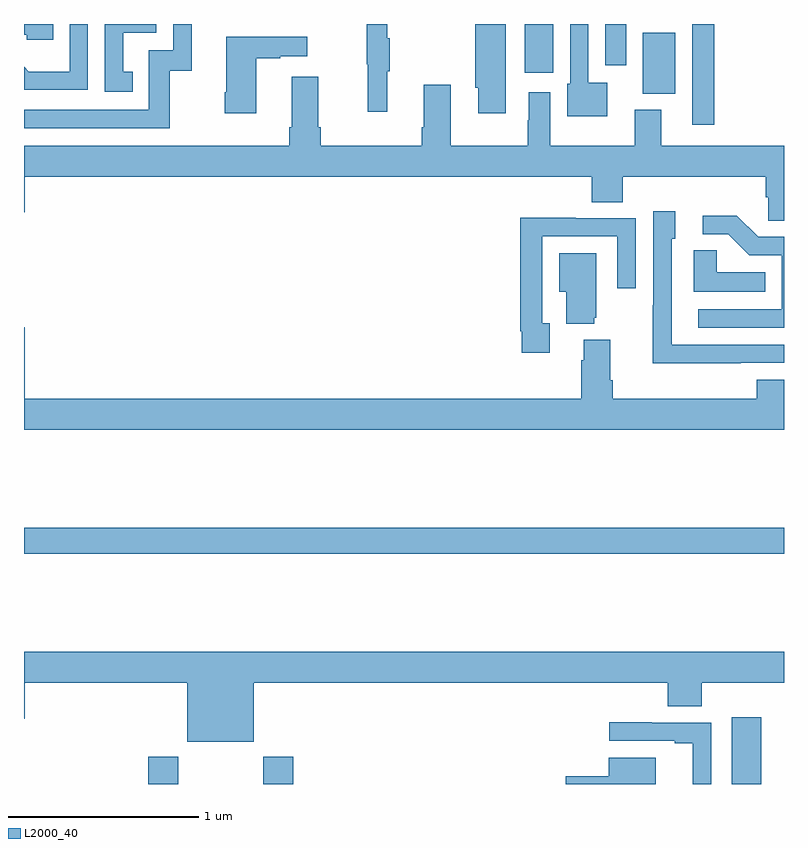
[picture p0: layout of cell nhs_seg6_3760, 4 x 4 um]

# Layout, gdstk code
import gdstk
lib = gdstk.Library(unit=1e-6, precision=1e-09)
def R(c, l, rs):  # rectangles x0, y0, x1, y1
    for r in rs: c.add(gdstk.rectangle(r[:2], r[2:], *l))
def P(c, l, *ps):  # polygons
    for p in ps: c.add(gdstk.Polygon(p, *l))
L2000_40 = (2000, 40)

nhs_seg6_3760 = lib.new_cell('nhs_seg6_3760')
R(nhs_seg6_3760, L2000_40, [(333.653,917.5,333.813,917.644), (334.258,917.5,334.418,917.644), (336.725,917.5,336.881,917.851), (333,918.712,337,918.848), (336.516,920.97,336.632,921.5), (336.257,921.134,336.427,921.454), (335.636,921.243,335.785,921.5), (336.059,921.282,336.169,921.5)])
P(nhs_seg6_3760, L2000_40, [(333.155,921.5),(333,921.5),(333,921.444),(333.015,921.444),(333.015,921.417),(333.155,921.417)],
  [(334.913,921.251),(334.924,921.251),(334.924,921.425),(334.913,921.425),(334.913,921.5),(334.803,921.5),(334.803,921.288),(334.81,921.288),(334.81,921.039),(334.913,921.039)],
  [(333.336,921.5),(333.24,921.5),(333.24,921.25),(333.026,921.25),(333,921.276),(333,921.153),(333.336,921.153)],
  [(333.766,921.255),(333.884,921.255),(333.884,921.5),(333.786,921.5),(333.786,921.363),(333.657,921.363),(333.657,921.048),(333,921.048),(333,920.952),(333.766,920.952)],
  [(336.07,921.19),(335.97,921.19),(335.97,921.5),(335.874,921.5),(335.874,921.186),(335.858,921.186),(335.858,921.014),(336.07,921.014)],
  [(335.536,921.5),(335.375,921.5),(335.375,921.165),(335.39,921.165),(335.39,921.03),(335.536,921.03)],
  [(333.572,921.249),(333.523,921.249),(333.523,921.453),(333.696,921.453),(333.696,921.5),(333.426,921.5),(333.426,921.144),(333.572,921.144)],
  [(334.222,921.319),(334.349,921.319),(334.349,921.329),(334.492,921.329),(334.492,921.433),(334.064,921.433),(334.064,921.142),(334.057,921.142),(334.057,921.03),(334.222,921.03)],
  [(337,920.86),(336.355,920.86),(336.355,921.049),(336.215,921.049),(336.215,920.86),(335.77,920.86),(335.77,921.142),(335.657,921.142),(335.657,920.993),(335.65,920.993),(335.65,920.86),(335.245,920.86),(335.245,921.181),(335.105,921.181),(335.105,920.956),(335.093,920.956),(335.093,920.86),(334.562,920.86),(334.562,920.956),(334.549,920.956),(334.549,921.223),(334.409,921.223),(334.409,920.956),(334.397,920.956),(334.397,920.86),(333,920.86),(333,920.508),(333.004,920.508),(333.004,920.696),(335.987,920.696),(335.987,920.563),(336.152,920.563),(336.152,920.696),(336.905,920.696),(336.905,920.587),(336.918,920.587),(336.918,920.464),(337,920.464)],
  [(336.773,919.716),(337,919.716),(337,919.812),(336.408,919.812),(336.408,920.37),(336.427,920.37),(336.427,920.515),(336.312,920.515),(336.312,920.021),(336.31,920.021),(336.31,919.715),(336.773,919.715)],
  [(337,920.379),(336.864,920.379),(336.751,920.492),(336.573,920.492),(336.573,920.394),(336.707,920.394),(336.818,920.283),(336.987,920.283),(336.987,919.998),(336.549,919.998),(336.549,919.902),(337,919.902)],
  [(335.767,919.926),(335.727,919.926),(335.727,920.382),(336.123,920.382),(336.123,920.109),(336.219,920.109),(336.219,920.478),(335.903,920.478),(335.903,920.48),(335.611,920.48),(335.611,919.882),(335.619,919.882),(335.619,919.77),(335.767,919.77)],
  [(336.902,920.194),(336.645,920.194),(336.645,920.309),(336.524,920.309),(336.524,920.09),(336.902,920.09)],
  [(336.002,919.953),(336.013,919.953),(336.013,920.293),(335.816,920.293),(335.816,920.09),(335.855,920.09),(335.855,919.922),(336.002,919.922)],
  [(337,919.627),(336.857,919.627),(336.857,919.528),(336.098,919.528),(336.098,919.624),(336.085,919.624),(336.085,919.837),(335.945,919.837),(335.945,919.73),(335.933,919.73),(335.933,919.528),(333.004,919.528),(333.004,919.903),(333,919.903),(333,919.364),(337,919.364)],
  [(334.21,918.032),(336.389,918.032),(336.389,917.908),(336.566,917.908),(336.566,918.032),(337,918.032),(337,918.196),(333,918.196),(333,917.844),(333.004,917.844),(333.004,918.032),(333.86,918.032),(333.86,917.723),(334.21,917.723)],
  [(336.618,917.823),(336.305,917.823),(336.305,917.825),(336.081,917.825),(336.081,917.727),(336.425,917.727),(336.425,917.715),(336.521,917.715),(336.521,917.5),(336.618,917.5)],
  [(336.325,917.638),(336.077,917.638),(336.077,917.54),(335.85,917.54),(335.85,917.5),(336.325,917.5)])

lib.write_gds('nhs_seg6_3760.gds')
